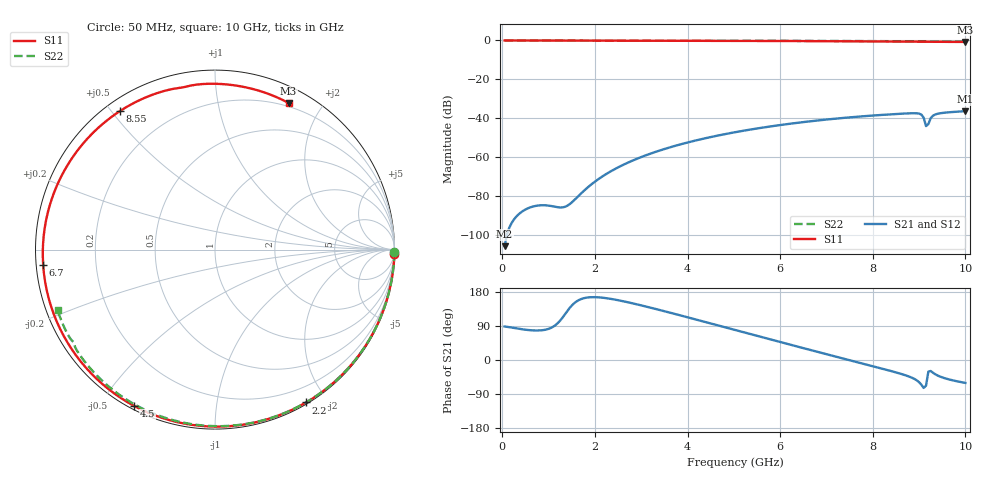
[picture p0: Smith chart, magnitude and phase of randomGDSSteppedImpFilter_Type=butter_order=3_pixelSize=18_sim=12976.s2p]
! freq	dB(S11)	phase(S11)	dB(S12)	phase(S12)
!  dB(S21)	phase(S21)	dB(S22)	phase(S22)
!S-par simulation data
#  GHz  S  DB  R 50
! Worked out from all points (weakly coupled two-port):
!   200 points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, 50 MHz to 10 GHz, reference 50 ohm
!   highest |S21| = -36.31 dB at 10 GHz (marker M1); lowest = -105.7 dB at 50 MHz (marker M2)
!   lowest |S11| = -0.8 dB at 10 GHz (marker M3), VSWR 22.29, Z = 8.09 + j80.4 ohm
!   |S11| at or under -10 dB: nowhere
!   |S22| runs from -0.5 to 0.0 dB; largest |S21 - S12| = 0
!   S11 on the Smith chart (normalised r, x): 50 MHz: 0, -83; 2.2 GHz: 0.02, -1.76; 4.5 GHz: 0.01, -0.61; 6.7 GHz: 0.02, -0.04; 8.55 GHz: 0.04, +0.53; 10 GHz: 0.16, +1.61
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0.05  -0.00 -1.4  -105.66 88.4  -105.66 88.4  -0.00 -0.9
0.8  -0.03 -21.9  -84.71 78.0  -84.71 78.0  -0.02 -14.5
1.6  -0.06 -43.4  -80.94 154.3  -80.94 154.3  -0.04 -28.8
1.75  -0.06 -47.4  -77.49 162.7  -77.49 162.7  -0.04 -31.4
2.2  -0.08 -59.2  -69.25 163.9  -69.25 163.9  -0.05 -39.3
2.75  -0.09 -73.4  -62.35 151.3  -62.35 151.3  -0.06 -48.8
3.4  -0.12 -89.9  -56.52 131.9  -56.52 131.9  -0.08 -59.7
4.5  -0.17 -117.3  -49.62 96.5  -49.62 96.5  -0.11 -77.5
5.05  -0.21 -131.1  -47.03 78.5  -47.03 78.5  -0.13 -86.1
5.9  -0.27 -153.1  -43.78 50.7  -43.78 50.7  -0.17 -99.0
6.7  -0.34 -175.0  -41.38 24.9  -41.38 24.9  -0.22 -110.9
7.55  -0.44 159.3  -39.40 -2.2  -39.40 -2.2  -0.28 -123.3
8.35  -0.55 131.8  -38.01 -27.7  -38.01 -27.7  -0.35 -134.9
8.55  -0.57 124.4  -37.72 -34.4  -37.72 -34.4  -0.37 -137.8
8.9  -0.63 110.7  -37.37 -50.0  -37.37 -50.0  -0.41 -142.9
9.05  -0.67 104.6  -38.09 -65.3  -38.09 -65.3  -0.45 -145.3
9.1  -0.70 102.6  -39.71 -73.8  -39.71 -73.8  -0.49 -146.0
9.15  -0.71 100.7  -43.98 -67.6  -43.98 -67.6  -0.53 -146.5
9.2  -0.69 98.8  -42.97 -30.8  -42.97 -30.8  -0.52 -146.9
9.25  -0.68 96.6  -39.95 -29.0  -39.95 -29.0  -0.49 -147.6
9.35  -0.68 92.3  -38.02 -37.7  -38.02 -37.7  -0.48 -149.1
10  -0.78 63.3  -36.31 -60.5  -36.31 -60.5  -0.54 -158.9
